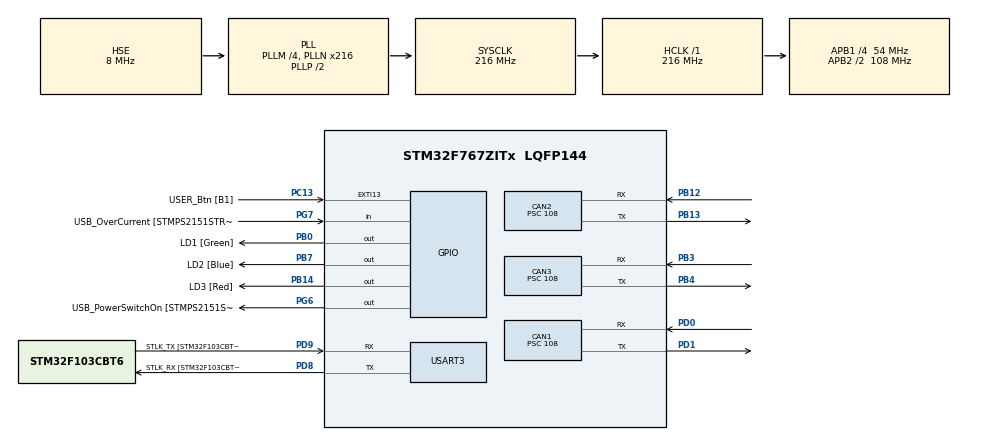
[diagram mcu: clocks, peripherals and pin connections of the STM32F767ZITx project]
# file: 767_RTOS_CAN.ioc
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CAN1.BS1=CAN_BS1_2TQ
CAN1.BS2=CAN_BS2_2TQ
CAN1.CalculateBaudRate=100000
CAN1.CalculateTimeBit=10000
CAN1.CalculateTimeQuantum=2000.0
CAN1.Mode=CAN_MODE_LOOPBACK
CAN1.NART=ENABLE
CAN1.Prescaler=108
CAN2.BS1=CAN_BS1_2TQ
CAN2.BS2=CAN_BS2_2TQ
CAN2.CalculateBaudRate=100000
CAN2.CalculateTimeBit=10000
CAN2.CalculateTimeQuantum=2000.0
CAN2.Mode=CAN_MODE_LOOPBACK
CAN2.NART=ENABLE
CAN2.Prescaler=108
CAN3.BS1=CAN_BS1_2TQ
CAN3.BS2=CAN_BS2_2TQ
CAN3.CalculateBaudRate=100000
CAN3.CalculateTimeBit=10000
CAN3.CalculateTimeQuantum=2000.0
CAN3.Mode=CAN_MODE_LOOPBACK
CAN3.NART=ENABLE
CAN3.Prescaler=108
FREERTOS.BinarySemaphores01=GPIOsemaphore,Dynamic,NULL
FREERTOS.HEAP_NUMBER=4
FREERTOS.Tasks01=defaultTask,24,512,StartDefaultTask,Default,NULL,Dynamic,NULL,NULL;Led1Task,8,512,Led1Toogle,Default,NULL,Dynamic,NULL,NULL;Led2Task,8,512,Led2Toogle,Default,NULL,Dynamic,NULL,NULL;Led3Task,8,512,Led3Toggle,Default,NULL,Dynamic,NULL,NULL
FREERTOS.configCHECK_FOR_STACK_OVERFLOW=2
FREERTOS.configMINIMAL_STACK_SIZE=512
FREERTOS.configTOTAL_HEAP_SIZE=32768
FREERTOS.configUSE_IDLE_HOOK=1
FREERTOS.configUSE_NEWLIB_REENTRANT=1
Mcu.Family=STM32F7
Mcu.Name=STM32F767ZITx
Mcu.Package=LQFP144
NVIC.CAN1_RX0_IRQn=true\:5\:0\:false\:false\:true\:true\:true\:true\:true
NVIC.CAN1_RX1_IRQn=true\:5\:0\:false\:false\:true\:true\:true\:true\:true
NVIC.CAN1_TX_IRQn=true\:5\:0\:false\:false\:true\:true\:true\:true\:true
NVIC.CAN2_RX0_IRQn=true\:5\:0\:false\:false\:true\:true\:true\:true\:true
NVIC.CAN2_RX1_IRQn=true\:5\:0\:false\:false\:true\:true\:true\:true\:true
NVIC.CAN2_TX_IRQn=true\:5\:0\:false\:false\:true\:true\:true\:true\:true
NVIC.CAN3_RX0_IRQn=true\:5\:0\:false\:false\:true\:true\:true\:true\:true
NVIC.CAN3_RX1_IRQn=true\:5\:0\:false\:false\:true\:true\:true\:true\:true
NVIC.CAN3_TX_IRQn=true\:5\:0\:false\:false\:true\:true\:true\:true\:true
NVIC.FPU_IRQn=true\:5\:0\:false\:false\:true\:true\:true\:false\:true
NVIC.PriorityGroup=NVIC_PRIORITYGROUP_4
NVIC.TIM8_TRG_COM_TIM14_IRQn=true\:15\:0\:false\:false\:true\:false\:false\:true\:true
NVIC.TimeBase=TIM8_TRG_COM_TIM14_IRQn
NVIC.TimeBaseIP=TIM14
PA13.GPIO_Label=TMS
PA13.Mode=Serial_Wire
PA13.Signal=SYS_JTMS-SWDIO
PA14.GPIO_Label=TCK
PA14.Mode=Serial_Wire
PA14.Signal=SYS_JTCK-SWCLK
PB0.GPIO_Label=LD1 [Green]
PB0.Signal=GPIO_Output
PB12.Mode=CAN_Activate
PB12.Signal=CAN2_RX
PB13.Mode=CAN_Activate
PB13.Signal=CAN2_TX
PB14.GPIO_Label=LD3 [Red]
PB14.Signal=GPIO_Output
PB3.Mode=CAN_Activate
PB3.Signal=CAN3_RX
PB4.Mode=CAN_Activate
PB4.Signal=CAN3_TX
PB7.GPIO_Label=LD2 [Blue]
PB7.Signal=GPIO_Output
PC13.GPIO_Label=USER_Btn [B1]
PC13.Signal=GPXTI13
PC14/OSC32_IN.Mode=LSE-External-Oscillator
PC14/OSC32_IN.Signal=RCC_OSC32_IN
PC15/OSC32_OUT.Mode=LSE-External-Oscillator
PC15/OSC32_OUT.Signal=RCC_OSC32_OUT
PD0.Mode=CAN_Activate
PD0.Signal=CAN1_RX
PD1.Mode=CAN_Activate
PD1.Signal=CAN1_TX
PD8.GPIO_Label=STLK_RX [STM32F103CBT6_PA3]
PD8.Mode=Asynchronous
PD8.Signal=USART3_TX
PD9.GPIO_Label=STLK_TX [STM32F103CBT6_PA2]
PD9.Mode=Asynchronous
PD9.Signal=USART3_RX
PG6.GPIO_Label=USB_PowerSwitchOn [STMPS2151STR_EN]
PG6.Signal=GPIO_Output
PG7.GPIO_Label=USB_OverCurrent [STMPS2151STR_FAULT]
PG7.Signal=GPIO_Input
PH0/OSC_IN.GPIO_Label=MCO [STM32F103CBT6_PA8]
PH0/OSC_IN.Mode=HSE-External-Clock-Source
PH0/OSC_IN.Signal=RCC_OSC_IN
PH1/OSC_OUT.Mode=HSE-External-Clock-Source
PH1/OSC_OUT.Signal=RCC_OSC_OUT
ProjectManager.HeapSize=0x400
ProjectManager.StackSize=0x800
ProjectManager.TargetToolchain=STM32CubeIDE
RCC.48MHZClocksFreq_Value=24000000
RCC.AHBFreq_Value=216000000
RCC.APB1CLKDivider=RCC_HCLK_DIV4
RCC.APB1Freq_Value=54000000
RCC.APB1TimFreq_Value=108000000
RCC.APB2CLKDivider=RCC_HCLK_DIV2
RCC.APB2Freq_Value=108000000
RCC.APB2TimFreq_Value=216000000
RCC.CortexFreq_Value=216000000
RCC.HCLKFreq_Value=216000000
RCC.HSE_VALUE=8000000
RCC.HSI_VALUE=16000000
RCC.PLLM=4
RCC.PLLMUL=RCC_PLL_MUL9
RCC.PLLN=216
RCC.PLLQ=4
RCC.PLLSourceVirtual=RCC_PLLSOURCE_HSE
RCC.PRESCALERUSB=RCC_USBCLKSOURCE_PLL_DIV1_5
RCC.SYSCLKFreq_VALUE=216000000
RCC.SYSCLKSource=RCC_SYSCLKSOURCE_PLLCLK
RCC.SYSCLKSourceVirtual=RCC_SYSCLKSOURCE_PLLCLK
RCC.USBFreq_Value=108000000
RCC.VCOOutputFreq_Value=432000000
USART3.VirtualMode-Asynchronous=VM_ASYNC
VP_CRC_VS_CRC.Mode=CRC_Activate
VP_FREERTOS_VS_CMSIS_V2.Mode=CMSIS_V2
VP_SYS_VS_tim14.Mode=TIM14
board=NUCLEO-F767ZI

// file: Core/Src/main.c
/* USER CODE BEGIN Header */
/**
  ******************************************************************************
  * @file           : main.c
  * @brief          : Main program body
  ******************************************************************************
  * @attention
  *
  * Copyright (c) 2024 STMicroelectronics.
  * All rights reserved.
  *
  * This software is licensed under terms that can be found in the LICENSE file
  * in the root directory of this software component.
  * If no LICENSE file comes with this software, it is provided AS-IS.
  *
  ******************************************************************************
  */
/* USER CODE END Header */
#include "main.h"
#include "cmsis_os.h"
#include "can.h"
#include "crc.h"
#include "usart.h"
#include "gpio.h"

/* USER CODE BEGIN Includes */
#include "FreeRTOS.h"
#include "semphr.h"
/* USER CODE END Includes */

void SystemClock_Config(void);
void MX_FREERTOS_Init(void);
/* USER CODE BEGIN PFP */
void LedToogle(CanReceiver_t *rec);
void LedToogle2(CanReceiver_t *rec);
/* USER CODE END PFP */

/* USER CODE BEGIN 0 */
CAN_FilterTypeDef CanFilterConfig;

uint8_t testData[] = {0,132,12,11,1,4,3,2,9,8,7,6,5,4,3,2,3,4,5,6};
uint8_t testData2[256];

CanReceiver_t CanMsg1;
CanReceiver_t CanMsg2;
CanReceiver_t CanMsg3;
CanReceiver_t CheckFrame, CheckFrame2, ExtCheck;
/* USER CODE END 0 */

int main(void)
{

  /* MCU Configuration--------------------------------------------------------*/

  /* Reset of all peripherals, Initializes the Flash interface and the Systick. */
  HAL_Init();

  /* Configure the system clock */
  SystemClock_Config();

  /* Initialize all configured peripherals */
  MX_GPIO_Init();
  MX_USART3_UART_Init();
  MX_CAN1_Init();
  MX_CAN2_Init();
  MX_CAN3_Init();
  MX_CRC_Init();
  /* USER CODE BEGIN 2 */
  CanFilterConfig.FilterActivation = CAN_FILTER_ENABLE;
  CanFilterConfig.FilterBank = 10;
  CanFilterConfig.FilterFIFOAssignment = CAN_RX_FIFO0;
  CanFilterConfig.FilterIdHigh = 0;
  CanFilterConfig.FilterIdLow = 0x0000;
  CanFilterConfig.FilterMaskIdHigh = 0;
  CanFilterConfig.FilterMaskIdLow = 0x0000;
  CanFilterConfig.FilterMode = CAN_FILTERMODE_IDMASK;
  CanFilterConfig.FilterScale = CAN_FILTERSCALE_32BIT;
  CanFilterConfig.SlaveStartFilterBank = 0;

  HAL_CAN_ConfigFilter(&hcan1, &CanFilterConfig);
  HAL_CAN_ConfigFilter(&hcan2, &CanFilterConfig);
  HAL_CAN_ConfigFilter(&hcan3, &CanFilterConfig);

  Can20aInit();

  Can20ReceiverInit(&CanMsg1, 16, &hcan1, 0x100, ENABLE, LedToogle);
  Can20ReceiverCheckFrameInit(&CheckFrame, &hcan1, 0x010, LedToogle);
  Can20ReceiverInit(&CanMsg2, 256, &hcan2, 0xffff, ENABLE, LedToogle);
  Can20ReceiverCheckFrameInit(&CheckFrame2, &hcan1, 0x015, LedToogle);
  Can20ReceiverInit(&CanMsg3, 8, &hcan1, 0x200, DISABLE, LedToogle);
  Can20ReceiverCheckFrameInit(&ExtCheck, &hcan3, 0xfffa, LedToogle);

  Can20ReceiverOvrTimSet(&CheckFrame, 600, LedToogle2);

  //Can20Receiverdeinit(&CanMsg2);
  /* USER CODE END 2 */

  /* Init scheduler */
  osKernelInitialize();

  /* Call init function for freertos objects (in freertos.c) */
  MX_FREERTOS_Init();

  /* Start scheduler */
  osKernelStart();

  /* We should never get here as control is now taken by the scheduler */
  /* Infinite loop */
  while (1)
  {

  }
}

void SystemClock_Config(void)
{
  RCC_OscInitTypeDef RCC_OscInitStruct = {0};
  RCC_ClkInitTypeDef RCC_ClkInitStruct = {0};

  /** Configure LSE Drive Capability
  */
  HAL_PWR_EnableBkUpAccess();

  /** Configure the main internal regulator output voltage
  */
  __HAL_RCC_PWR_CLK_ENABLE();
  __HAL_PWR_VOLTAGESCALING_CONFIG(PWR_REGULATOR_VOLTAGE_SCALE1);

  /** Initializes the RCC Oscillators according to the specified parameters
  * in the RCC_OscInitTypeDef structure.
  */
  RCC_OscInitStruct.OscillatorType = RCC_OSCILLATORTYPE_HSE;
  RCC_OscInitStruct.HSEState = RCC_HSE_BYPASS;
  RCC_OscInitStruct.PLL.PLLState = RCC_PLL_ON;
  RCC_OscInitStruct.PLL.PLLSource = RCC_PLLSOURCE_HSE;
  RCC_OscInitStruct.PLL.PLLM = 4;
  RCC_OscInitStruct.PLL.PLLN = 216;
  RCC_OscInitStruct.PLL.PLLP = RCC_PLLP_DIV2;
  RCC_OscInitStruct.PLL.PLLQ = 4;
  RCC_OscInitStruct.PLL.PLLR = 2;
  if (HAL_RCC_OscConfig(&RCC_OscInitStruct) != HAL_OK)
  {
    Error_Handler();
  }

  /** Activate the Over-Drive mode
  */
  if (HAL_PWREx_EnableOverDrive() != HAL_OK)
  {
    Error_Handler();
  }

  /** Initializes the CPU, AHB and APB buses clocks
  */
  RCC_ClkInitStruct.ClockType = RCC_CLOCKTYPE_HCLK|RCC_CLOCKTYPE_SYSCLK
                              |RCC_CLOCKTYPE_PCLK1|RCC_CLOCKTYPE_PCLK2;
  RCC_ClkInitStruct.SYSCLKSource = RCC_SYSCLKSOURCE_PLLCLK;
  RCC_ClkInitStruct.AHBCLKDivider = RCC_SYSCLK_DIV1;
  RCC_ClkInitStruct.APB1CLKDivider = RCC_HCLK_DIV4;
  RCC_ClkInitStruct.APB2CLKDivider = RCC_HCLK_DIV2;

  if (HAL_RCC_ClockConfig(&RCC_ClkInitStruct, FLASH_LATENCY_7) != HAL_OK)
  {
    Error_Handler();
  }
}

/* USER CODE BEGIN 4 */
void LedToogle(CanReceiver_t *rec)
{

	if(rec == &CheckFrame) HAL_GPIO_TogglePin(LD3_GPIO_Port, LD3_Pin);
	if(rec == &CanMsg2) HAL_GPIO_TogglePin(LD2_GPIO_Port, LD2_Pin);
	if(rec == &CanMsg3) HAL_GPIO_TogglePin(LD1_GPIO_Port, LD1_Pin);
}
void LedToogle2(CanReceiver_t *rec)
{
//	if(rec == &CheckFrame) HAL_GPIO_TogglePin(LD1_GPIO_Port, LD1_Pin);
}
/* USER CODE END 4 */

void HAL_TIM_PeriodElapsedCallback(TIM_HandleTypeDef *htim)
{
  if (htim->Instance == TIM14) {
    HAL_IncTick();
  }
}

void Error_Handler(void)
{
  __disable_irq();
  while (1)
  {
  }
}

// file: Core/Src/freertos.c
/* USER CODE BEGIN Header */
/**
  ******************************************************************************
  * File Name          : freertos.c
  * Description        : Code for freertos applications
  ******************************************************************************
  * @attention
  *
  * Copyright (c) 2024 STMicroelectronics.
  * All rights reserved.
  *
  * This software is licensed under terms that can be found in the LICENSE file
  * in the root directory of this software component.
  * If no LICENSE file comes with this software, it is provided AS-IS.
  *
  ******************************************************************************
  */
/* USER CODE END Header */

#include "FreeRTOS.h"
#include "task.h"
#include "main.h"
#include "cmsis_os.h"

/* USER CODE BEGIN Includes */
#include "can.h"
/* USER CODE END Includes */

/* USER CODE BEGIN Variables */
extern uint8_t testData[];
extern uint8_t testData2[256];
/* USER CODE END Variables */
/* Definitions for defaultTask */
osThreadId_t defaultTaskHandle;
const osThreadAttr_t defaultTask_attributes = {
  .name = "defaultTask",
  .stack_size = 512 * 4,
  .priority = (osPriority_t) osPriorityNormal,
};
/* Definitions for Led1Task */
osThreadId_t Led1TaskHandle;
const osThreadAttr_t Led1Task_attributes = {
  .name = "Led1Task",
  .stack_size = 512 * 4,
  .priority = (osPriority_t) osPriorityLow,
};
/* Definitions for Led2Task */
osThreadId_t Led2TaskHandle;
const osThreadAttr_t Led2Task_attributes = {
  .name = "Led2Task",
  .stack_size = 512 * 4,
  .priority = (osPriority_t) osPriorityLow,
};
/* Definitions for Led3Task */
osThreadId_t Led3TaskHandle;
const osThreadAttr_t Led3Task_attributes = {
  .name = "Led3Task",
  .stack_size = 512 * 4,
  .priority = (osPriority_t) osPriorityLow,
};
/* Definitions for GPIOsemaphore */
osSemaphoreId_t GPIOsemaphoreHandle;
const osSemaphoreAttr_t GPIOsemaphore_attributes = {
  .name = "GPIOsemaphore"
};

void StartDefaultTask(void *argument);
void Led1Toogle(void *argument);
void Led2Toogle(void *argument);
void Led3Toggle(void *argument);

void MX_FREERTOS_Init(void); /* (MISRA C 2004 rule 8.1) */

/* Hook prototypes */
void vApplicationIdleHook(void);
void vApplicationStackOverflowHook(xTaskHandle xTask, signed char *pcTaskName);

/* USER CODE BEGIN 2 */
void vApplicationIdleHook( void )
{
   /* vApplicationIdleHook() will only be called if configUSE_IDLE_HOOK is set
   to 1 in FreeRTOSConfig.h. It will be called on each iteration of the idle
   task. It is essential that code added to this hook function never attempts
   to block in any way (for example, call xQueueReceive() with a block time
   specified, or call vTaskDelay()). If the application makes use of the
   vTaskDelete() API function (as this demo application does) then it is also
   important that vApplicationIdleHook() is permitted to return to its calling
   function, because it is the responsibility of the idle task to clean up
   memory allocated by the kernel to any task that has since been deleted. */
}
/* USER CODE END 2 */

/* USER CODE BEGIN 4 */
void vApplicationStackOverflowHook(xTaskHandle xTask, signed char *pcTaskName)
{
   /* Run time stack overflow checking is performed if
   configCHECK_FOR_STACK_OVERFLOW is defined to 1 or 2. This hook function is
   called if a stack overflow is detected. */
}
/* USER CODE END 4 */

void MX_FREERTOS_Init(void) {

  /* Create the semaphores(s) */
  /* creation of GPIOsemaphore */
  GPIOsemaphoreHandle = osSemaphoreNew(1, 0, &GPIOsemaphore_attributes);

  /* Create the thread(s) */
  /* creation of defaultTask */
  defaultTaskHandle = osThreadNew(StartDefaultTask, NULL, &defaultTask_attributes);

  /* creation of Led1Task */
  Led1TaskHandle = osThreadNew(Led1Toogle, NULL, &Led1Task_attributes);

  /* creation of Led2Task */
  Led2TaskHandle = osThreadNew(Led2Toogle, NULL, &Led2Task_attributes);

  /* creation of Led3Task */
  Led3TaskHandle = osThreadNew(Led3Toggle, NULL, &Led3Task_attributes);

}

void StartDefaultTask(void *argument)
{
  /* USER CODE BEGIN StartDefaultTask */
  /* Infinite loop */
  for(;;)
  {
	  //HAL_GPIO_TogglePin(LD2_GPIO_Port, LD2_Pin);
    osDelay(70);
  }
  /* USER CODE END StartDefaultTask */
}

void Led1Toogle(void *argument)
{
  /* USER CODE BEGIN Led1Toogle */
  /* Infinite loop */
  for(;;)
  {
	  Can20SendLongMsgCrc(&hcan1, 0x100, testData, 16);
	  Can20SendLongMsgCrc(&hcan2, 0xffff, testData2, 256);
    osDelay(200);
  }
  /* USER CODE END Led1Toogle */
}

void Led2Toogle(void *argument)
{
  /* USER CODE BEGIN Led2Toogle */
  /* Infinite loop */
  for(;;)
  {
	  Can20SendCheck(&hcan1, 0x015);
	  Can20SendCheck(&hcan1, 0x010);
    osDelay(500);
  }
  /* USER CODE END Led2Toogle */
}

void Led3Toggle(void *argument)
{
  /* USER CODE BEGIN Led3Toggle */
  /* Infinite loop */
  for(;;)
  {
	  Can20SendSimple(&hcan1, 0x200, testData, 8);
	  Can20SendCheck(&hcan3, 0xfffa);
    osDelay(1100);
  }
  /* USER CODE END Led3Toggle */
}
